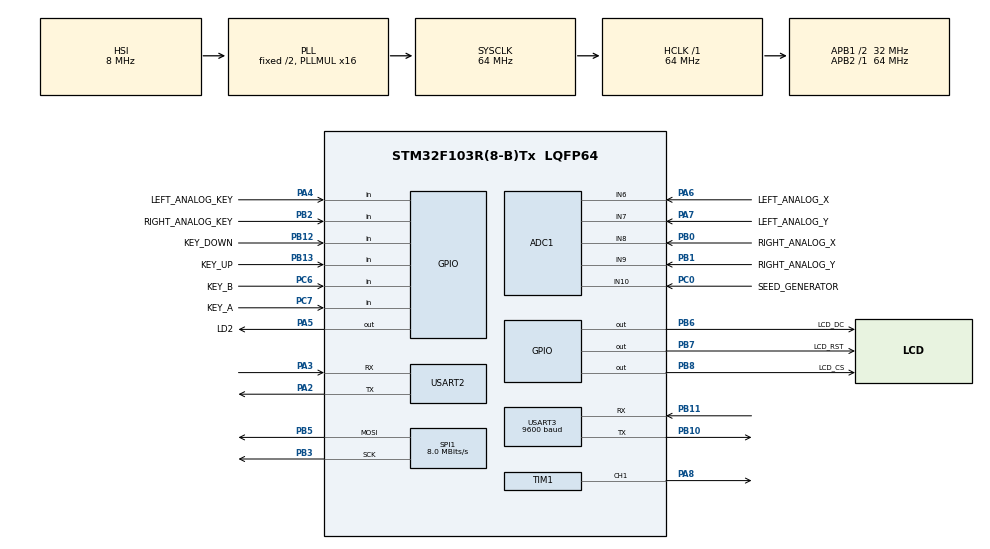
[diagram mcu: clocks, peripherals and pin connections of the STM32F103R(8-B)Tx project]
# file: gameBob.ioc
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ADC1.Channel-0\#ChannelRegularConversion=ADC_CHANNEL_6
ADC1.NbrOfConversionFlag=1
ADC1.Rank-0\#ChannelRegularConversion=1
ADC1.SamplingTime-0\#ChannelRegularConversion=ADC_SAMPLETIME_1CYCLE_5
ADC1.master=1
Dma.Request0=SPI1_TX
Dma.SPI1_TX.0.Direction=DMA_MEMORY_TO_PERIPH
Dma.SPI1_TX.0.Instance=DMA1_Channel3
Dma.SPI1_TX.0.MemDataAlignment=DMA_MDATAALIGN_BYTE
Dma.SPI1_TX.0.MemInc=DMA_MINC_ENABLE
Dma.SPI1_TX.0.Mode=DMA_NORMAL
Dma.SPI1_TX.0.PeriphDataAlignment=DMA_PDATAALIGN_BYTE
Dma.SPI1_TX.0.PeriphInc=DMA_PINC_DISABLE
Dma.SPI1_TX.0.Priority=DMA_PRIORITY_LOW
Mcu.Family=STM32F1
Mcu.Name=STM32F103R(8-B)Tx
Mcu.Package=LQFP64
NVIC.DMA1_Channel3_IRQn=true\:0\:0\:false\:false\:true\:false\:true\:true
NVIC.PriorityGroup=NVIC_PRIORITYGROUP_4
NVIC.TIM2_IRQn=true\:15\:0\:false\:false\:true\:false\:true\:true
NVIC.TimeBase=TIM2_IRQn
NVIC.TimeBaseIP=TIM2
NVIC.USART3_IRQn=true\:0\:0\:false\:false\:true\:true\:true\:true
PA13.Mode=Serial_Wire
PA13.Signal=SYS_JTMS-SWDIO
PA14.Mode=Serial_Wire
PA14.Signal=SYS_JTCK-SWCLK
PA2.Mode=Asynchronous
PA2.Signal=USART2_TX
PA3.Mode=Asynchronous
PA3.Signal=USART2_RX
PA4.GPIO_Label=LEFT_ANALOG_KEY
PA4.GPIO_PuPd=GPIO_PULLUP
PA4.Signal=GPIO_Input
PA5.GPIO_Label=LD2
PA5.Signal=GPIO_Output
PA6.GPIO_Label=LEFT_ANALOG_X
PA6.Signal=ADCx_IN6
PA7.GPIO_Label=LEFT_ANALOG_Y
PA7.Signal=ADCx_IN7
PA8.Signal=S_TIM1_CH1
PB0.GPIO_Label=RIGHT_ANALOG_X
PB0.Signal=ADCx_IN8
PB1.GPIO_Label=RIGHT_ANALOG_Y
PB1.Signal=ADCx_IN9
PB10.Mode=Asynchronous
PB10.Signal=USART3_TX
PB11.Mode=Asynchronous
PB11.Signal=USART3_RX
PB12.GPIO_Label=KEY_DOWN
PB12.GPIO_PuPd=GPIO_PULLUP
PB12.Signal=GPIO_Input
PB13.GPIO_Label=KEY_UP
PB13.GPIO_PuPd=GPIO_PULLUP
PB13.Signal=GPIO_Input
PB2.GPIO_Label=RIGHT_ANALOG_KEY
PB2.GPIO_PuPd=GPIO_PULLUP
PB2.Signal=GPIO_Input
PB3.Mode=TX_Only_Simplex_Unidirect_Master
PB3.Signal=SPI1_SCK
PB5.Mode=TX_Only_Simplex_Unidirect_Master
PB5.Signal=SPI1_MOSI
PB6.GPIO_Label=LCD_DC
PB6.GPIO_Speed=GPIO_SPEED_FREQ_HIGH
PB6.PinState=GPIO_PIN_SET
PB6.Signal=GPIO_Output
PB7.GPIO_Label=LCD_RST
PB7.GPIO_PuPd=GPIO_PULLUP
PB7.GPIO_Speed=GPIO_SPEED_FREQ_HIGH
PB7.PinState=GPIO_PIN_SET
PB7.Signal=GPIO_Output
PB8.GPIO_Label=LCD_CS
PB8.GPIO_PuPd=GPIO_PULLUP
PB8.GPIO_Speed=GPIO_SPEED_FREQ_HIGH
PB8.PinState=GPIO_PIN_SET
PB8.Signal=GPIO_Output
PC0.GPIO_Label=SEED_GENERATOR
PC0.Signal=ADCx_IN10
PC6.GPIO_Label=KEY_B
PC6.GPIO_PuPd=GPIO_PULLUP
PC6.Signal=GPIO_Input
PC7.GPIO_Label=KEY_A
PC7.GPIO_PuPd=GPIO_PULLUP
PC7.Signal=GPIO_Input
ProjectManager.HeapSize=0x200
ProjectManager.StackSize=0x400
ProjectManager.TargetToolchain=STM32CubeIDE
RCC.ADCPresc=RCC_ADCPCLK2_DIV6
RCC.AHBFreq_Value=64000000
RCC.APB1CLKDivider=RCC_HCLK_DIV2
RCC.APB1Freq_Value=32000000
RCC.APB1TimFreq_Value=64000000
RCC.APB2Freq_Value=64000000
RCC.APB2TimFreq_Value=64000000
RCC.HCLKFreq_Value=64000000
RCC.PLLMUL=RCC_PLL_MUL16
RCC.SYSCLKFreq_VALUE=64000000
RCC.SYSCLKSource=RCC_SYSCLKSOURCE_PLLCLK
RCC.USBFreq_Value=64000000
SH.ADCx_IN10.0=ADC1_IN10,IN10
SH.ADCx_IN6.0=ADC1_IN6,IN6
SH.ADCx_IN7.0=ADC1_IN7,IN7
SH.ADCx_IN8.0=ADC1_IN8,IN8
SH.ADCx_IN9.0=ADC1_IN9,IN9
SH.S_TIM1_CH1.0=TIM1_CH1,PWM Generation1 CH1
SPI1.BaudRatePrescaler=SPI_BAUDRATEPRESCALER_8
SPI1.CalculateBaudRate=8.0 MBits/s
SPI1.Direction=SPI_DIRECTION_2LINES
SPI1.Mode=SPI_MODE_MASTER
SPI1.VirtualType=VM_MASTER
TIM1.AutoReloadPreload=TIM_AUTORELOAD_PRELOAD_DISABLE
TIM1.Channel-PWM\ Generation1\ CH1=TIM_CHANNEL_1
TIM1.Period=10006
TIM1.Prescaler=0
TIM1.Pulse-PWM\ Generation1\ CH1=500
USART2.VirtualMode=VM_ASYNC
USART3.BaudRate=9600
USART3.VirtualMode=VM_ASYNC
VP_SYS_VS_tim2.Mode=TIM2
board=custom

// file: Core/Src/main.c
/* USER CODE BEGIN Header */
/**
  ******************************************************************************
  * @file           : main.c
  * @brief          : Main program body
  ******************************************************************************
  * @attention
  *
  * Copyright (c) 2025 STMicroelectronics.
  * All rights reserved.
  *
  * This software is licensed under terms that can be found in the LICENSE file
  * in the root directory of this software component.
  * If no LICENSE file comes with this software, it is provided AS-IS.
  *
  ******************************************************************************
  */
/* USER CODE END Header */
#include "main.h"

/* USER CODE BEGIN Includes */
#include "string.h"
#include "stdio.h"
#include "FreeRTOS.h"
#include "task.h"
#include "lcd.h"
#include "ugui.h"
#include "ugui_colors.h"
#include "user.h"
#include "pong.h"
#include "pitches.h"
#include "images.h"
#include "main_menu.h"
#include "esp8266.h"
/* USER CODE END Includes */

/* USER CODE BEGIN PM */
#define DEFAULT_FONT FONT_6X8
#define TIM_FREQ 64000000
#define MAX_OBJECTS 10 //uGUI
/* USER CODE END PM */

ADC_HandleTypeDef hadc1;

SPI_HandleTypeDef hspi1;
DMA_HandleTypeDef hdma_spi1_tx;

TIM_HandleTypeDef htim1;

UART_HandleTypeDef huart2;
UART_HandleTypeDef huart3;

/* USER CODE BEGIN PV */
//test
static PLAYER player1, player2;
static BALL ball;
static USER_INPUT uInput;
static USER_INPUT uInputOld;
static StaticTask_t xIdleTaskTCBBuffer;
static StackType_t xIdleStack[configMINIMAL_STACK_SIZE];

/* UART BUFFER */

//uint8_t rx[50] = {0};
//volatile uint8_t found_flag = 0;
//uint8_t rx_index = 0;
//volatile uint8_t tx_completed_flag = 0;

//uGUI
static UG_WINDOW window_1;

/* USER CODE END PV */

void SystemClock_Config(void);
static void MX_GPIO_Init(void);
static void MX_DMA_Init(void);
static void MX_SPI1_Init(void);
static void MX_ADC1_Init(void);
static void MX_USART2_UART_Init(void);
static void MX_TIM1_Init(void);
static void MX_USART3_UART_Init(void);
/* USER CODE BEGIN PFP */
void vApplicationGetIdleTaskMemory( StaticTask_t **ppxIdleTaskTCBBuffer, StackType_t **ppxIdleTaskStackBuffer, uint32_t *pulIdleTaskStackSize );
void ADC_SetActiveChannel(ADC_HandleTypeDef *hadc, uint32_t AdcChannel);
static void initUserInput(USER_INPUT *uInput);
static void updateSelectedOption(enum ActiveGameBobOption selected_menu_option);
static void drawMainMenu();

//uGUI
static void window_1_callback(UG_MESSAGE *msg);

/* TASK FUNCTIONS */
static void testTask( void *pvParameters );
static void taskMainMenu(void *pvParameters);
static void taskGetUserInput(void *pvParameters);
static void taskGameLogic(void *pvParameters);
TaskHandle_t h_task_main_menu = NULL;
TaskHandle_t h_task_game_logic = NULL;

/* USER CODE END PFP */

int main(void)
{
  /* USER CODE BEGIN 1 */
	CoreDebug->DEMCR |= CoreDebug_DEMCR_TRCENA_Msk; // Enable DWT
	DWT->CYCCNT = 0;                                // Clear counter
	DWT->CTRL = DWT_CTRL_CYCCNTENA_Msk;             // Enable counter

	BaseType_t xReturned;
  /* USER CODE END 1 */

  /* MCU Configuration--------------------------------------------------------*/

  /* Reset of all peripherals, Initializes the Flash interface and the Systick. */
  HAL_Init();

  /* Configure the system clock */
  SystemClock_Config();

  /* Initialize all configured peripherals */
  MX_GPIO_Init();
  MX_DMA_Init();
  MX_SPI1_Init();
  MX_ADC1_Init();
  MX_USART2_UART_Init();
  MX_TIM1_Init();
  MX_USART3_UART_Init();
  /* USER CODE BEGIN 2 */
  LCD_init();
  initUserInput(&uInput);

  size_t output_size = 50;
  char output[output_size];
  char ssid[30];
  char psw[30];
  char server[] = "172.20.10.4";
  char port[] = "5000";
  char cmd[60];
  sprintf(cmd, "GET /gameBob.bin HTTP/1.1\r\nHost: @s\r\n\r\n",server);
  sprintf(ssid, "iPhone (Eryk)");
  sprintf(psw,"ebeebeebe");
  uint8_t result = Esp8266_Init(&huart3);
  result = Esp8266_SetCwMode(1);
  //result = Esp8266_ChangeBaudRate(9600, 8, 1, 0, 0);
//  result = Esp8266_ListAP(output);
  result = Esp8266_ConnectAP(ssid, psw);
  //result = Esp8266_GetIpAddress(output, output_size);
  result = Esp8266_StartTCPIPConnection(server, port);
  result = Esp8266_SendIpCommand(cmd);

  xReturned = xTaskCreate(testTask, "task", 256, NULL, 1, NULL);
  xReturned = xTaskCreate(taskMainMenu,"taskMainMenu",256,NULL,3,&h_task_main_menu);
  xReturned = xTaskCreate(taskGetUserInput,"taskGetUserInput",256,NULL,2,NULL);

  //xReturned = xTaskCreate(taskGameLogic, "taskGameLogic", 512, NULL, 3, NULL);
  vTaskStartScheduler();
  /* USER CODE END 2 */

  /* Infinite loop */
  while (1)
  {

  }
}

void SystemClock_Config(void)
{
  RCC_OscInitTypeDef RCC_OscInitStruct = {0};
  RCC_ClkInitTypeDef RCC_ClkInitStruct = {0};
  RCC_PeriphCLKInitTypeDef PeriphClkInit = {0};

  /** Initializes the RCC Oscillators according to the specified parameters
  * in the RCC_OscInitTypeDef structure.
  */
  RCC_OscInitStruct.OscillatorType = RCC_OSCILLATORTYPE_HSI;
  RCC_OscInitStruct.HSIState = RCC_HSI_ON;
  RCC_OscInitStruct.HSICalibrationValue = RCC_HSICALIBRATION_DEFAULT;
  RCC_OscInitStruct.PLL.PLLState = RCC_PLL_ON;
  RCC_OscInitStruct.PLL.PLLSource = RCC_PLLSOURCE_HSI_DIV2;
  RCC_OscInitStruct.PLL.PLLMUL = RCC_PLL_MUL16;
  if (HAL_RCC_OscConfig(&RCC_OscInitStruct) != HAL_OK)
  {
    Error_Handler();
  }

  /** Initializes the CPU, AHB and APB buses clocks
  */
  RCC_ClkInitStruct.ClockType = RCC_CLOCKTYPE_HCLK|RCC_CLOCKTYPE_SYSCLK
                              |RCC_CLOCKTYPE_PCLK1|RCC_CLOCKTYPE_PCLK2;
  RCC_ClkInitStruct.SYSCLKSource = RCC_SYSCLKSOURCE_PLLCLK;
  RCC_ClkInitStruct.AHBCLKDivider = RCC_SYSCLK_DIV1;
  RCC_ClkInitStruct.APB1CLKDivider = RCC_HCLK_DIV2;
  RCC_ClkInitStruct.APB2CLKDivider = RCC_HCLK_DIV1;

  if (HAL_RCC_ClockConfig(&RCC_ClkInitStruct, FLASH_LATENCY_2) != HAL_OK)
  {
    Error_Handler();
  }
  PeriphClkInit.PeriphClockSelection = RCC_PERIPHCLK_ADC;
  PeriphClkInit.AdcClockSelection = RCC_ADCPCLK2_DIV6;
  if (HAL_RCCEx_PeriphCLKConfig(&PeriphClkInit) != HAL_OK)
  {
    Error_Handler();
  }
}

static void MX_ADC1_Init(void)
{

  ADC_ChannelConfTypeDef sConfig = {0};

  /** Common config
  */
  hadc1.Instance = ADC1;
  hadc1.Init.ScanConvMode = ADC_SCAN_DISABLE;
  hadc1.Init.ContinuousConvMode = DISABLE;
  hadc1.Init.DiscontinuousConvMode = DISABLE;
  hadc1.Init.ExternalTrigConv = ADC_SOFTWARE_START;
  hadc1.Init.DataAlign = ADC_DATAALIGN_RIGHT;
  hadc1.Init.NbrOfConversion = 1;
  if (HAL_ADC_Init(&hadc1) != HAL_OK)
  {
    Error_Handler();
  }

  /** Configure Regular Channel
  */
  sConfig.Channel = ADC_CHANNEL_6;
  sConfig.Rank = ADC_REGULAR_RANK_1;
  sConfig.SamplingTime = ADC_SAMPLETIME_1CYCLE_5;
  if (HAL_ADC_ConfigChannel(&hadc1, &sConfig) != HAL_OK)
  {
    Error_Handler();
  }

}

static void MX_SPI1_Init(void)
{

  /* SPI1 parameter configuration*/
  hspi1.Instance = SPI1;
  hspi1.Init.Mode = SPI_MODE_MASTER;
  hspi1.Init.Direction = SPI_DIRECTION_2LINES;
  hspi1.Init.DataSize = SPI_DATASIZE_8BIT;
  hspi1.Init.CLKPolarity = SPI_POLARITY_LOW;
  hspi1.Init.CLKPhase = SPI_PHASE_1EDGE;
  hspi1.Init.NSS = SPI_NSS_SOFT;
  hspi1.Init.BaudRatePrescaler = SPI_BAUDRATEPRESCALER_8;
  hspi1.Init.FirstBit = SPI_FIRSTBIT_MSB;
  hspi1.Init.TIMode = SPI_TIMODE_DISABLE;
  hspi1.Init.CRCCalculation = SPI_CRCCALCULATION_DISABLE;
  hspi1.Init.CRCPolynomial = 10;
  if (HAL_SPI_Init(&hspi1) != HAL_OK)
  {
    Error_Handler();
  }

}

static void MX_TIM1_Init(void)
{

  TIM_MasterConfigTypeDef sMasterConfig = {0};
  TIM_OC_InitTypeDef sConfigOC = {0};
  TIM_BreakDeadTimeConfigTypeDef sBreakDeadTimeConfig = {0};

  htim1.Instance = TIM1;
  htim1.Init.Prescaler = 0;
  htim1.Init.CounterMode = TIM_COUNTERMODE_UP;
  htim1.Init.Period = 10006;
  htim1.Init.ClockDivision = TIM_CLOCKDIVISION_DIV1;
  htim1.Init.RepetitionCounter = 0;
  htim1.Init.AutoReloadPreload = TIM_AUTORELOAD_PRELOAD_DISABLE;
  if (HAL_TIM_PWM_Init(&htim1) != HAL_OK)
  {
    Error_Handler();
  }
  sMasterConfig.MasterOutputTrigger = TIM_TRGO_RESET;
  sMasterConfig.MasterSlaveMode = TIM_MASTERSLAVEMODE_DISABLE;
  if (HAL_TIMEx_MasterConfigSynchronization(&htim1, &sMasterConfig) != HAL_OK)
  {
    Error_Handler();
  }
  sConfigOC.OCMode = TIM_OCMODE_PWM1;
  sConfigOC.Pulse = 500;
  sConfigOC.OCPolarity = TIM_OCPOLARITY_HIGH;
  sConfigOC.OCNPolarity = TIM_OCNPOLARITY_HIGH;
  sConfigOC.OCFastMode = TIM_OCFAST_DISABLE;
  sConfigOC.OCIdleState = TIM_OCIDLESTATE_RESET;
  sConfigOC.OCNIdleState = TIM_OCNIDLESTATE_RESET;
  if (HAL_TIM_PWM_ConfigChannel(&htim1, &sConfigOC, TIM_CHANNEL_1) != HAL_OK)
  {
    Error_Handler();
  }
  sBreakDeadTimeConfig.OffStateRunMode = TIM_OSSR_DISABLE;
  sBreakDeadTimeConfig.OffStateIDLEMode = TIM_OSSI_DISABLE;
  sBreakDeadTimeConfig.LockLevel = TIM_LOCKLEVEL_OFF;
  sBreakDeadTimeConfig.DeadTime = 0;
  sBreakDeadTimeConfig.BreakState = TIM_BREAK_DISABLE;
  sBreakDeadTimeConfig.BreakPolarity = TIM_BREAKPOLARITY_HIGH;
  sBreakDeadTimeConfig.AutomaticOutput = TIM_AUTOMATICOUTPUT_DISABLE;
  if (HAL_TIMEx_ConfigBreakDeadTime(&htim1, &sBreakDeadTimeConfig) != HAL_OK)
  {
    Error_Handler();
  }
  HAL_TIM_MspPostInit(&htim1);

}

static void MX_USART2_UART_Init(void)
{

  huart2.Instance = USART2;
  huart2.Init.BaudRate = 115200;
  huart2.Init.WordLength = UART_WORDLENGTH_8B;
  huart2.Init.StopBits = UART_STOPBITS_1;
  huart2.Init.Parity = UART_PARITY_NONE;
  huart2.Init.Mode = UART_MODE_TX_RX;
  huart2.Init.HwFlowCtl = UART_HWCONTROL_NONE;
  huart2.Init.OverSampling = UART_OVERSAMPLING_16;
  if (HAL_UART_Init(&huart2) != HAL_OK)
  {
    Error_Handler();
  }

}

static void MX_USART3_UART_Init(void)
{

  huart3.Instance = USART3;
  huart3.Init.BaudRate = 9600;
  huart3.Init.WordLength = UART_WORDLENGTH_8B;
  huart3.Init.StopBits = UART_STOPBITS_1;
  huart3.Init.Parity = UART_PARITY_NONE;
  huart3.Init.Mode = UART_MODE_TX_RX;
  huart3.Init.HwFlowCtl = UART_HWCONTROL_NONE;
  huart3.Init.OverSampling = UART_OVERSAMPLING_16;
  if (HAL_UART_Init(&huart3) != HAL_OK)
  {
    Error_Handler();
  }

}

static void MX_DMA_Init(void)
{

  /* DMA controller clock enable */
  __HAL_RCC_DMA1_CLK_ENABLE();

  /* DMA interrupt init */
  /* DMA1_Channel3_IRQn interrupt configuration */
  HAL_NVIC_SetPriority(DMA1_Channel3_IRQn, 0, 0);
  HAL_NVIC_EnableIRQ(DMA1_Channel3_IRQn);

}

static void MX_GPIO_Init(void)
{
  GPIO_InitTypeDef GPIO_InitStruct = {0};

  /* GPIO Ports Clock Enable */
  __HAL_RCC_GPIOC_CLK_ENABLE();
  __HAL_RCC_GPIOA_CLK_ENABLE();
  __HAL_RCC_GPIOB_CLK_ENABLE();

  /*Configure GPIO pin Output Level */
  HAL_GPIO_WritePin(LD2_GPIO_Port, LD2_Pin, GPIO_PIN_RESET);

  /*Configure GPIO pin Output Level */
  HAL_GPIO_WritePin(GPIOB, LCD_DC_Pin|LCD_RST_Pin|LCD_CS_Pin, GPIO_PIN_SET);

  /*Configure GPIO pin : LEFT_ANALOG_KEY_Pin */
  GPIO_InitStruct.Pin = LEFT_ANALOG_KEY_Pin;
  GPIO_InitStruct.Mode = GPIO_MODE_INPUT;
  GPIO_InitStruct.Pull = GPIO_PULLUP;
  HAL_GPIO_Init(LEFT_ANALOG_KEY_GPIO_Port, &GPIO_InitStruct);

  /*Configure GPIO pin : LD2_Pin */
  GPIO_InitStruct.Pin = LD2_Pin;
  GPIO_InitStruct.Mode = GPIO_MODE_OUTPUT_PP;
  GPIO_InitStruct.Pull = GPIO_NOPULL;
  GPIO_InitStruct.Speed = GPIO_SPEED_FREQ_LOW;
  HAL_GPIO_Init(LD2_GPIO_Port, &GPIO_InitStruct);

  /*Configure GPIO pins : RIGHT_ANALOG_KEY_Pin KEY_DOWN_Pin KEY_UP_Pin */
  GPIO_InitStruct.Pin = RIGHT_ANALOG_KEY_Pin|KEY_DOWN_Pin|KEY_UP_Pin;
  GPIO_InitStruct.Mode = GPIO_MODE_INPUT;
  GPIO_InitStruct.Pull = GPIO_PULLUP;
  HAL_GPIO_Init(GPIOB, &GPIO_InitStruct);

  /*Configure GPIO pins : KEY_B_Pin KEY_A_Pin */
  GPIO_InitStruct.Pin = KEY_B_Pin|KEY_A_Pin;
  GPIO_InitStruct.Mode = GPIO_MODE_INPUT;
  GPIO_InitStruct.Pull = GPIO_PULLUP;
  HAL_GPIO_Init(GPIOC, &GPIO_InitStruct);

  /*Configure GPIO pin : LCD_DC_Pin */
  GPIO_InitStruct.Pin = LCD_DC_Pin;
  GPIO_InitStruct.Mode = GPIO_MODE_OUTPUT_PP;
  GPIO_InitStruct.Pull = GPIO_NOPULL;
  GPIO_InitStruct.Speed = GPIO_SPEED_FREQ_HIGH;
  HAL_GPIO_Init(LCD_DC_GPIO_Port, &GPIO_InitStruct);

  /*Configure GPIO pins : LCD_RST_Pin LCD_CS_Pin */
  GPIO_InitStruct.Pin = LCD_RST_Pin|LCD_CS_Pin;
  GPIO_InitStruct.Mode = GPIO_MODE_OUTPUT_PP;
  GPIO_InitStruct.Pull = GPIO_PULLUP;
  GPIO_InitStruct.Speed = GPIO_SPEED_FREQ_HIGH;
  HAL_GPIO_Init(GPIOB, &GPIO_InitStruct);

}

/* USER CODE BEGIN 4 */

void ADC_SetActiveChannel(ADC_HandleTypeDef *hadc, uint32_t AdcChannel)
{
  ADC_ChannelConfTypeDef sConfig = {0};
  sConfig.Channel = AdcChannel;
  sConfig.Rank = 1;
  sConfig.SamplingTime = ADC_SAMPLETIME_1CYCLE_5;
  if (HAL_ADC_ConfigChannel(hadc, &sConfig) != HAL_OK)
  {
   Error_Handler();
  }
}

static void testTask( void *pvParameters ){

	for(;;){
		HAL_GPIO_TogglePin(LD2_GPIO_Port, LD2_Pin);
	    vTaskDelay(500);
	}
}

static void taskGameLogic(void *pvParameters){

	initGame(h_task_main_menu,&htim1,uInput);
	for(;;){
		gameInput(uInput);
		gameLogic();
		vTaskDelay(33);
	}
}

static void drawMainMenu(){
	UG_FillScreen(C_WHITE);
	UG_FillFrame(0, 0, LCD_WIDTH, 30, C_PURPLE);
	char text_buffer[25];
	sprintf(text_buffer, "Welcome to GameBob!");
	LCD_PutStr(10, 10, text_buffer, FONT_12X20, C_WHITE, C_PURPLE);
	UG_DrawBMP(LCD_WIDTH/2-42, LCD_HEIGHT/2-62, &play_game_pic);
	UG_DrawBMP(LCD_WIDTH/2-42, LCD_HEIGHT/2, &load_game_pic);
	UG_DrawBMP(LCD_WIDTH/2-42, LCD_HEIGHT/2+62, &power_off_pic);
	UG_Update();
}

static void taskMainMenu(void *pvParameters){

	static enum ActiveGameBobOption selected_menu_option = START_GAME;

	drawMainMenu();
	updateSelectedOption(selected_menu_option);

	 UG_WindowShow(&window_1);
	 UG_Update();
	 BaseType_t xReturned;
	 uint8_t game_started_flag = 0;
	 for(;;){

		if(game_started_flag == 0 && selected_menu_option == PLAY_GAME && uInput.keyB == GPIO_PIN_RESET){
			 xReturned = xTaskCreate(taskGameLogic, "taskGameLogic", 512, NULL, 3, &h_task_game_logic);
			 vTaskSuspend(NULL);
			 drawMainMenu();
			 updateSelectedOption(selected_menu_option);
		 }
		if(uInput.keyDown == GPIO_PIN_RESET && uInput.keyDown != uInputOld.keyDown){
			if(selected_menu_option < POWER_OFF){
				selected_menu_option++;
				updateSelectedOption(selected_menu_option);
			}
		}
		else if(uInput.keyUp == GPIO_PIN_RESET && uInput.keyUp != uInputOld.keyUp){
			if(selected_menu_option > PLAY_GAME){
				selected_menu_option--;
				updateSelectedOption(selected_menu_option);
			}
		}

		 vTaskDelay(33);
	 }

}

static void taskGetUserInput(void *pvParameters){
	/* Check analog input */
	uint16_t joystick[4] = {0}; //0 - X axis ; 1 - Y axis
	char buffer[20];
	uint32_t adc_channel = ADC_CHANNEL_6;
	uint32_t adc_channels[4] = {ADC_CHANNEL_6,ADC_CHANNEL_7,ADC_CHANNEL_8,ADC_CHANNEL_9};
	for(;;){
		for(int i=0;i<4;i++){
			ADC_SetActiveChannel(&hadc1, adc_channels[i]);
			HAL_ADC_Start(&hadc1);
			HAL_ADC_PollForConversion(&hadc1, 10);
			joystick[i] = HAL_ADC_GetValue(&hadc1);
		}

		uInputOld = uInput;

		uInput.leftXAxis = joystick[0];
		uInput.leftYAxis = joystick[1];
		uInput.rightXAxis = joystick[2];
		uInput.rightYAxis = joystick[3];

		/* Check analog key press */
		uInput.leftAnalogKey = HAL_GPIO_ReadPin(LEFT_ANALOG_KEY_GPIO_Port, LEFT_ANALOG_KEY_Pin);
		uInput.rightAnalogKey = HAL_GPIO_ReadPin(RIGHT_ANALOG_KEY_GPIO_Port, RIGHT_ANALOG_KEY_Pin);

		/* Check buttons state */
		uInput.keyDown = HAL_GPIO_ReadPin(KEY_DOWN_GPIO_Port, KEY_DOWN_Pin);
		uInput.keyUp = HAL_GPIO_ReadPin(KEY_UP_GPIO_Port, KEY_UP_Pin);
		uInput.keyB = HAL_GPIO_ReadPin(KEY_B_GPIO_Port, KEY_B_Pin);
		uInput.keyA = HAL_GPIO_ReadPin(KEY_A_GPIO_Port, KEY_A_Pin);

		/* Get seed */
		ADC_SetActiveChannel(&hadc1, ADC_CHANNEL_10);
		HAL_ADC_Start(&hadc1);
		HAL_ADC_PollForConversion(&hadc1, 10);
		uInput.seed = HAL_ADC_GetValue(&hadc1);

		vTaskDelay(33);
	}
}

static void initUserInput(USER_INPUT *uInput){
	uInput->leftXAxis = 2000;
	uInput->leftYAxis = 2000;
	uInput->rightXAxis = 2000;
	uInput->rightYAxis = 2000;
	uInput->keyLeft = GPIO_PIN_SET;
	uInput->keyRight = GPIO_PIN_SET;
	uInput->keyUp = GPIO_PIN_SET;
	uInput->keyDown = GPIO_PIN_SET;
	uInput->keyA = GPIO_PIN_SET;
	uInput->keyB = GPIO_PIN_SET;

	ADC_SetActiveChannel(&hadc1, ADC_CHANNEL_10);
	HAL_ADC_Start(&hadc1);
	HAL_ADC_PollForConversion(&hadc1, 10);
	uInput->seed = HAL_ADC_GetValue(&hadc1);

}

static void updateSelectedOption(enum ActiveGameBobOption selected_menu_option){
	uint16_t option_colors[3] = {C_WHITE, C_WHITE, C_WHITE};

	for(int i=0; i<3; i++){
		selected_menu_option == i ? option_colors[i] = C_PURPLE : C_WHITE;
	}

	UG_DrawFrame(LCD_WIDTH/2-42, LCD_HEIGHT/2-62, LCD_WIDTH/2-42+play_game_pic.width, LCD_HEIGHT/2-62+play_game_pic.height, option_colors[0]);
	UG_DrawFrame(LCD_WIDTH/2-42-1, LCD_HEIGHT/2-62-1, LCD_WIDTH/2-42+play_game_pic.width+1, LCD_HEIGHT/2-62+1+play_game_pic.height, option_colors[0]);

	UG_DrawFrame(LCD_WIDTH/2-42, LCD_HEIGHT/2, LCD_WIDTH/2-42+play_game_pic.width, LCD_HEIGHT/2+load_game_pic.height, option_colors[1]);
	UG_DrawFrame(LCD_WIDTH/2-42-1, LCD_HEIGHT/2-1, LCD_WIDTH/2-42+1+play_game_pic.width, LCD_HEIGHT/2+1+load_game_pic.height, option_colors[1]);

	UG_DrawFrame(LCD_WIDTH/2-42, LCD_HEIGHT/2+62, LCD_WIDTH/2-42+play_game_pic.width, LCD_HEIGHT/2+62+power_off_pic.height, option_colors[2]);
	UG_DrawFrame(LCD_WIDTH/2-42-1, LCD_HEIGHT/2+62-1, LCD_WIDTH/2-42+1+play_game_pic.width, LCD_HEIGHT/2+62+1+power_off_pic.height, option_colors[2]);

}

void vApplicationGetIdleTaskMemory( StaticTask_t **ppxIdleTaskTCBBuffer, StackType_t **ppxIdleTaskStackBuffer, uint32_t *pulIdleTaskStackSize )
{
  *ppxIdleTaskTCBBuffer = &xIdleTaskTCBBuffer;
  *ppxIdleTaskStackBuffer = &xIdleStack[0];
  *pulIdleTaskStackSize = configMINIMAL_STACK_SIZE;
  /* place for user code */
}

static void window_1_callback(UG_MESSAGE *msg)
{

}
/*
static uint8_t initEsp8266(UART_HandleTypeDef *huart){
	char buffer[20];
	sprintf(buffer, "AT\r\n");
	HAL_UART_Transmit_IT(&huart3, (uint8_t*)buffer, strlen(buffer));
	//HAL_Delay(1000);
	while(!tx_completed_flag){
	}
	HAL_UART_Receive_IT(&huart3, (uint8_t*)rx, 1);
	while(!found_flag){
	}
	return found_flag;
}
*/

void HAL_UART_TxCpltCallback(UART_HandleTypeDef *huart)
{
	ESP8266_UART_TxCpltCallback(huart);
	/*
	tx_completed_flag = 1;
	*/
}

void HAL_UART_RxCpltCallback(UART_HandleTypeDef *huart)
{
	ESP8266_UART_RxCpltCallback(huart);
	/*
	const char *word = "OK";
	const char *word2 = "ERROR";
	if(strstr((char*)rx,word)){
		found_flag = 1;
	}
	else if(strstr((char*)rx,word2)){
		found_flag = 2;
	}
	else{
		rx_index++;
		HAL_UART_Receive_IT(&huart3, rx+rx_index, 1);
	}
	*/
}

/* USER CODE END 4 */

void HAL_TIM_PeriodElapsedCallback(TIM_HandleTypeDef *htim)
{
  if (htim->Instance == TIM2) {
    HAL_IncTick();
  }
}

void Error_Handler(void)
{
  __disable_irq();
  while (1)
  {
  }
}
